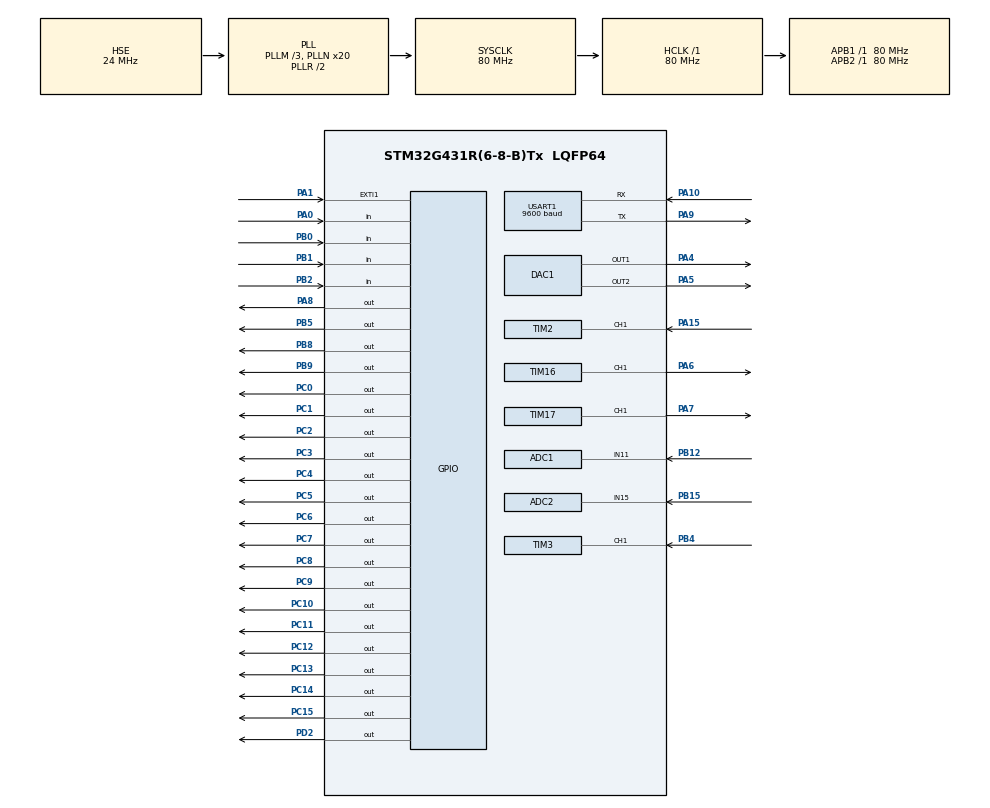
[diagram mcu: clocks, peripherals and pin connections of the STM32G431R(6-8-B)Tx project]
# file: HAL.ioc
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ADC1.Channel-0\#ChannelRegularConversion=ADC_CHANNEL_11
ADC1.NbrOfConversionFlag=1
ADC1.OffsetNumber-0\#ChannelRegularConversion=ADC_OFFSET_NONE
ADC1.Rank-0\#ChannelRegularConversion=1
ADC1.SamplingTime-0\#ChannelRegularConversion=ADC_SAMPLETIME_2CYCLES_5
ADC1.master=1
ADC2.Channel-0\#ChannelRegularConversion=ADC_CHANNEL_15
ADC2.NbrOfConversionFlag=1
ADC2.OffsetNumber-0\#ChannelRegularConversion=ADC_OFFSET_NONE
ADC2.Rank-0\#ChannelRegularConversion=1
ADC2.SamplingTime-0\#ChannelRegularConversion=ADC_SAMPLETIME_2CYCLES_5
DAC1.DAC_Channel-DAC_OUT2=DAC_CHANNEL_2
Dma.Request0=USART1_RX
Dma.USART1_RX.0.Direction=DMA_PERIPH_TO_MEMORY
Dma.USART1_RX.0.EventEnable=DISABLE
Dma.USART1_RX.0.Instance=DMA1_Channel1
Dma.USART1_RX.0.MemDataAlignment=DMA_MDATAALIGN_BYTE
Dma.USART1_RX.0.MemInc=DMA_MINC_ENABLE
Dma.USART1_RX.0.Mode=DMA_NORMAL
Dma.USART1_RX.0.PeriphDataAlignment=DMA_PDATAALIGN_BYTE
Dma.USART1_RX.0.PeriphInc=DMA_PINC_DISABLE
Dma.USART1_RX.0.Polarity=HAL_DMAMUX_REQ_GEN_RISING
Dma.USART1_RX.0.Priority=DMA_PRIORITY_LOW
Dma.USART1_RX.0.RequestNumber=1
Dma.USART1_RX.0.SignalID=NONE
Dma.USART1_RX.0.SyncEnable=DISABLE
Dma.USART1_RX.0.SyncPolarity=HAL_DMAMUX_SYNC_NO_EVENT
Dma.USART1_RX.0.SyncRequestNumber=1
Dma.USART1_RX.0.SyncSignalID=NONE
Mcu.Family=STM32G4
Mcu.Name=STM32G431R(6-8-B)Tx
Mcu.Package=LQFP64
NVIC.DMA1_Channel1_IRQn=true\:0\:0\:false\:false\:true\:false\:true
NVIC.EXTI1_IRQn=true\:0\:0\:false\:false\:true\:true\:true
NVIC.PriorityGroup=NVIC_PRIORITYGROUP_4
NVIC.TIM1_UP_TIM16_IRQn=true\:0\:0\:false\:false\:true\:true\:true
NVIC.TIM2_IRQn=true\:0\:0\:false\:false\:true\:true\:true
NVIC.TIM3_IRQn=true\:0\:0\:false\:false\:true\:true\:true
NVIC.USART1_IRQn=true\:0\:0\:false\:false\:true\:true\:true
PA0.Signal=GPIO_Input
PA1.GPIO_ModeDefaultEXTI=GPIO_MODE_IT_RISING_FALLING
PA1.GPIO_PuPd=GPIO_PULLUP
PA1.Signal=GPXTI1
PA10.Mode=Asynchronous
PA10.Signal=USART1_RX
PA13.Mode=Serial_Wire
PA13.Signal=SYS_JTMS-SWDIO
PA14.Mode=Serial_Wire
PA14.Signal=SYS_JTCK-SWCLK
PA15.Signal=S_TIM2_CH1
PA4.Signal=COMP_DAC11_group
PA5.Signal=COMP_DAC12_group
PA6.Signal=S_TIM16_CH1
PA7.Signal=S_TIM17_CH1
PA8.Signal=GPIO_Output
PA9.Mode=Asynchronous
PA9.Signal=USART1_TX
PB0.Signal=GPIO_Input
PB1.Signal=GPIO_Input
PB12.Mode=IN11-Single-Ended
PB12.Signal=ADC1_IN11
PB15.Mode=IN15-Single-Ended
PB15.Signal=ADC2_IN15
PB2.Signal=GPIO_Input
PB4.Signal=S_TIM3_CH1
PB5.Signal=GPIO_Output
PB8-BOOT0.Signal=GPIO_Output
PB9.Signal=GPIO_Output
PC0.Signal=GPIO_Output
PC1.Signal=GPIO_Output
PC10.PinState=GPIO_PIN_SET
PC10.Signal=GPIO_Output
PC11.PinState=GPIO_PIN_SET
PC11.Signal=GPIO_Output
PC12.PinState=GPIO_PIN_SET
PC12.Signal=GPIO_Output
PC13.PinState=GPIO_PIN_SET
PC13.Signal=GPIO_Output
PC14-OSC32_IN.PinState=GPIO_PIN_SET
PC14-OSC32_IN.Signal=GPIO_Output
PC15-OSC32_OUT.PinState=GPIO_PIN_SET
PC15-OSC32_OUT.Signal=GPIO_Output
PC2.Signal=GPIO_Output
PC3.Signal=GPIO_Output
PC4.Signal=GPIO_Output
PC5.Signal=GPIO_Output
PC6.Signal=GPIO_Output
PC7.Signal=GPIO_Output
PC8.PinState=GPIO_PIN_SET
PC8.Signal=GPIO_Output
PC9.PinState=GPIO_PIN_SET
PC9.Signal=GPIO_Output
PD2.Signal=GPIO_Output
PF0-OSC_IN.Mode=HSE-External-Oscillator
PF0-OSC_IN.Signal=RCC_OSC_IN
PF1-OSC_OUT.Mode=HSE-External-Oscillator
PF1-OSC_OUT.Signal=RCC_OSC_OUT
ProjectManager.HeapSize=0x200
ProjectManager.StackSize=0x400
ProjectManager.TargetToolchain=MDK-ARM V5
RCC.ADC12Freq_Value=80000000
RCC.AHBFreq_Value=80000000
RCC.APB1Freq_Value=80000000
RCC.APB1TimFreq_Value=80000000
RCC.APB2Freq_Value=80000000
RCC.APB2TimFreq_Value=80000000
RCC.CortexFreq_Value=80000000
RCC.EXTERNAL_CLOCK_VALUE=12288000
RCC.HCLKFreq_Value=80000000
RCC.HSE_VALUE=24000000
RCC.HSI48_VALUE=48000000
RCC.HSI_VALUE=16000000
RCC.LSE_VALUE=32768
RCC.PLLM=RCC_PLLM_DIV3
RCC.PLLN=20
RCC.PLLSourceVirtual=RCC_PLLSOURCE_HSE
RCC.RTCClockSelection=RCC_RTCCLKSOURCE_HSE_DIV32
RCC.SYSCLKFreq_VALUE=80000000
RCC.SYSCLKSource=RCC_SYSCLKSOURCE_PLLCLK
RCC.USBFreq_Value=80000000
RCC.VCOOutputFreq_Value=160000000
RTC.AsynchPrediv=125
RTC.Date=7
RTC.Format=RTC_FORMAT_BIN
RTC.Hours=9
RTC.Minutes=16
RTC.Month=RTC_MONTH_NOVEMBER
RTC.SynchPrediv=6000
RTC.WeekDay=RTC_WEEKDAY_THURSDAY
RTC.Year=24
SH.COMP_DAC11_group.0=DAC1_OUT1,DAC_OUT1
SH.COMP_DAC12_group.0=DAC1_OUT2,DAC_OUT2
SH.S_TIM16_CH1.0=TIM16_CH1,PWM Generation1 CH1
SH.S_TIM17_CH1.0=TIM17_CH1,PWM Generation1 CH1
SH.S_TIM2_CH1.0=TIM2_CH1,Input_Capture1_from_TI1
SH.S_TIM2_CH1.1=TIM2_CH1,Input_Capture2_from_TI1
SH.S_TIM3_CH1.0=TIM3_CH1,Input_Capture1_from_TI1
SH.S_TIM3_CH1.1=TIM3_CH1,Input_Capture2_from_TI1
TIM1.AutoReloadPreload=TIM_AUTORELOAD_PRELOAD_ENABLE
TIM1.PeriodNoDither=9999
TIM1.Prescaler=7999
TIM16.Channel=TIM_CHANNEL_1
TIM16.PeriodNoDither=99
TIM16.Prescaler=7999
TIM17.Channel=TIM_CHANNEL_1
TIM17.PeriodNoDither=99
TIM17.Prescaler=3999
TIM2.Channel-Input_Capture1_from_TI1=TIM_CHANNEL_1
TIM2.Channel-Input_Capture2_from_TI1=TIM_CHANNEL_2
TIM2.ICPolarity_CH2=TIM_INPUTCHANNELPOLARITY_FALLING
TIM2.PeriodNoDither=49999
TIM2.Prescaler=79
TIM3.Channel-Input_Capture1_from_TI1=TIM_CHANNEL_1
TIM3.Channel-Input_Capture2_from_TI1=TIM_CHANNEL_2
TIM3.ICPolarity_CH2=TIM_INPUTCHANNELPOLARITY_FALLING
TIM3.PeriodNoDither=49999
TIM3.Prescaler=79
USART1.BaudRate=9600
USART1.VirtualMode-Asynchronous=VM_ASYNC
VP_RTC_VS_RTC_Activate.Mode=RTC_Enabled
VP_RTC_VS_RTC_Calendar.Mode=RTC_Calendar
VP_SYS_VS_DBSignals.Mode=DisableDeadBatterySignals
VP_TIM16_VS_ClockSourceINT.Mode=Enable_Timer
VP_TIM17_VS_ClockSourceINT.Mode=Enable_Timer
VP_TIM1_VS_ClockSourceINT.Mode=Internal
board=custom

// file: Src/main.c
/* USER CODE BEGIN Header */
/**
  ******************************************************************************
  * @file           : main.c
  * @brief          : Main program body
  ******************************************************************************
  * @attention
  *
  * <h2><center>&copy; Copyright (c) 2024 STMicroelectronics.
  * All rights reserved.</center></h2>
  *
  * This software component is licensed by ST under BSD 3-Clause license,
  * the "License"; You may not use this file except in compliance with the
  * License. You may obtain a copy of the License at:
  *                        opensource.org/licenses/BSD-3-Clause
  *
  ******************************************************************************
  */
/* USER CODE END Header */

#include "main.h"
#include "adc.h"
#include "dac.h"
#include "dma.h"
#include "rtc.h"
#include "tim.h"
#include "usart.h"
#include "gpio.h"

/* USER CODE BEGIN Includes */

#include <string.h>
#include <stdio.h>
#include "lcd.h"
#include "logo.h"
#include "adc.h"
#include "dac.h"
#include "tim.h"
#include "i2c_hal.h"
#include "page_manager.h"

/* USER CODE END Includes */

void SystemClock_Config(void);

int main(void)
{
  /* USER CODE BEGIN 1 */

    pt_page page = NULL;

  /* USER CODE END 1 */

  /* MCU Configuration--------------------------------------------------------*/

  /* Reset of all peripherals, Initializes the Flash interface and the Systick. */
  HAL_Init();

  /* Configure the system clock */
  SystemClock_Config();

  /* Initialize all configured peripherals */
  MX_GPIO_Init();
  MX_DMA_Init();
  MX_USART1_UART_Init();
  MX_ADC1_Init();
  MX_ADC2_Init();
  MX_TIM16_Init();
  MX_TIM17_Init();
  MX_TIM2_Init();
  MX_TIM3_Init();
  MX_DAC1_Init();
  MX_RTC_Init();
  MX_TIM1_Init();
  /* USER CODE BEGIN 2 */

    I2CInit();

    LCD_Init();
    LCD_Clear(White);

    LCD_SetDisplayWindow(239, 319, 240, 320);

    LCD_SetBackColor(White);
    LCD_SetTextColor(Blue);

    // uart1_enable_receive_it();

    adc_calibration();

    pwm_start();

    tim_input_capture_start();

    // tim_up_counter_start();

    dac1_start();

    page_init();

    page = page_get("MAIN");

    printf("Hello, whtcc!\r\n");

  /* USER CODE END 2 */

  /* Infinite loop */
  while (1)
  {

    /* USER CODE BEGIN 3 */

      // key_led_test();
      // uart1_test();
      // adc_test();
      // pwm_test();
      // tim_input_capture_test();
      // rtc_test();
      // at24c02_i2c_test();
      // mcp40xx_i2c_test();
      // barrier_test();

      page->run();

  }
  /* USER CODE END 3 */
}

void SystemClock_Config(void)
{
  RCC_OscInitTypeDef RCC_OscInitStruct = {0};
  RCC_ClkInitTypeDef RCC_ClkInitStruct = {0};
  RCC_PeriphCLKInitTypeDef PeriphClkInit = {0};

  /** Configure the main internal regulator output voltage
  */
  HAL_PWREx_ControlVoltageScaling(PWR_REGULATOR_VOLTAGE_SCALE1);
  /** Initializes the CPU, AHB and APB busses clocks
  */
  RCC_OscInitStruct.OscillatorType = RCC_OSCILLATORTYPE_HSE;
  RCC_OscInitStruct.HSEState = RCC_HSE_ON;
  RCC_OscInitStruct.PLL.PLLState = RCC_PLL_ON;
  RCC_OscInitStruct.PLL.PLLSource = RCC_PLLSOURCE_HSE;
  RCC_OscInitStruct.PLL.PLLM = RCC_PLLM_DIV3;
  RCC_OscInitStruct.PLL.PLLN = 20;
  RCC_OscInitStruct.PLL.PLLP = RCC_PLLP_DIV2;
  RCC_OscInitStruct.PLL.PLLQ = RCC_PLLQ_DIV2;
  RCC_OscInitStruct.PLL.PLLR = RCC_PLLR_DIV2;
  if (HAL_RCC_OscConfig(&RCC_OscInitStruct) != HAL_OK)
  {
    Error_Handler();
  }
  /** Initializes the CPU, AHB and APB busses clocks
  */
  RCC_ClkInitStruct.ClockType = RCC_CLOCKTYPE_HCLK|RCC_CLOCKTYPE_SYSCLK
                              |RCC_CLOCKTYPE_PCLK1|RCC_CLOCKTYPE_PCLK2;
  RCC_ClkInitStruct.SYSCLKSource = RCC_SYSCLKSOURCE_PLLCLK;
  RCC_ClkInitStruct.AHBCLKDivider = RCC_SYSCLK_DIV1;
  RCC_ClkInitStruct.APB1CLKDivider = RCC_HCLK_DIV1;
  RCC_ClkInitStruct.APB2CLKDivider = RCC_HCLK_DIV1;

  if (HAL_RCC_ClockConfig(&RCC_ClkInitStruct, FLASH_LATENCY_3) != HAL_OK)
  {
    Error_Handler();
  }
  /** Initializes the peripherals clocks
  */
  PeriphClkInit.PeriphClockSelection = RCC_PERIPHCLK_RTC|RCC_PERIPHCLK_USART1
                              |RCC_PERIPHCLK_ADC12;
  PeriphClkInit.Usart1ClockSelection = RCC_USART1CLKSOURCE_PCLK2;
  PeriphClkInit.Adc12ClockSelection = RCC_ADC12CLKSOURCE_SYSCLK;
  PeriphClkInit.RTCClockSelection = RCC_RTCCLKSOURCE_HSE_DIV32;

  if (HAL_RCCEx_PeriphCLKConfig(&PeriphClkInit) != HAL_OK)
  {
    Error_Handler();
  }
}

void Error_Handler(void)
{
}

/************************ (C) COPYRIGHT STMicroelectronics *****END OF FILE****/
